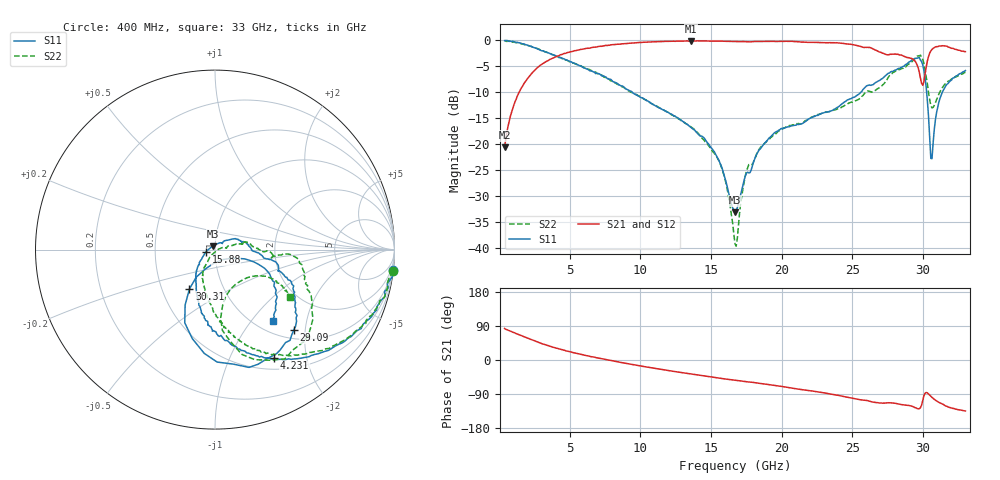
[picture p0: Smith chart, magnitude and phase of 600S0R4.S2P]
!  American Technical Ceramics  Date:  4/26/2005
!  One Norden Lane
!  Huntington Station,  NY.  11746-2102
!  Tel:  (631) 622-4700  Fax:  (631) 622-4748
!  Part Number  600S0R4  Mounting Orientation: Horizontal
!  Description: Ultra Low ESR Microwave capacitors
!  Application: Coupling, Bypass, Tuning, DC Block
!  Filters, Matching
# GHZ S DB R 50
! Freq  |S11|  S11 Ph  |S21|  S21 Ph  |S12|  S12 Ph  |S22|  S22 Ph
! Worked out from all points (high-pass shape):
!   401 points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, 400 MHz to 33 GHz, reference 50 ohm
!   highest |S21| = -0.08 dB at 13.6 GHz (marker M1); lowest = -20.6 dB at 400 MHz (marker M2)
!   |S21| within 3 dB of the highest: 4.084 GHz to 28.68 GHz (24.6 GHz wide, 150 % of centre); 30.39 GHz to end of sweep
!   lowest |S11| = -33.1 dB at 16.7 GHz (marker M3), VSWR 1.05, Z = 48.9 + j1.9 ohm
!   |S11| at or under -10 dB: 9.443 GHz to 25.6 GHz (16.15 GHz wide, 92.2 % of centre); 30.26 GHz to 31.36 GHz (1.103 GHz wide, 3.58 % of centre)
!   |S22| runs from -39.6 to 0.0 dB; largest |S21 - S12| = 0.014
!   S11 on the Smith chart (normalised r, x): 400 MHz: 0, -18; 4.231 GHz: 0.64, -1.49; 15.88 GHz: 0.90, -0.03; 29.09 GHz: 1.18, -1.74; 30.31 GHz: 0.69, -0.32; 33 GHz: 1.19, -1.29
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0.4  -0.02 -6.5  -20.61 83.0  -20.57 82.9  -0.01 -6.8
1.704  -0.69 -26.8  -8.65 62.5  -8.62 61.5  -0.69 -27.5
4.231  -3.22 -61.3  -2.97 29.5  -2.98 29.8  -3.28 -58.5
5.861  -5.05 -77.4  -1.71 14.5  -1.68 14.6  -5.01 -71.8
11.321  -12.96 -118.0  -0.22 -23.8  -0.20 -23.8  -12.91 -104.5
13.603  -16.77 -133.1  -0.08 -37.1  -0.11 -37.0  -16.67 -117.6
15.885  -25.51 -164.7  -0.15 -49.4  -0.15 -49.4  -25.67 -124.5
16.7  -33.06 119.2  -0.20 -53.4  -0.19 -53.4  -39.18 -70.2
16.863  -32.23 95.9  -0.20 -54.1  -0.21 -54.1  -38.16 -14.2
17.515  -25.54 45.1  -0.25 -57.5  -0.24 -57.4  -25.13 13.1
18.412  -21.08 36.5  -0.22 -61.6  -0.21 -61.6  -20.94 14.2
22.161  -14.85 10.0  -0.37 -81.8  -0.34 -81.8  -14.71 12.8
26.399  -8.55 -18.4  -1.53 -110.7  -1.54 -110.8  -9.97 -8.1
27.621  -6.28 -26.5  -2.72 -112.9  -2.74 -112.5  -6.80 -5.8
29.088  -4.06 -45.6  -3.41 -120.7  -3.37 -120.7  -4.28 -28.0
29.822  -3.79 -80.9  -7.30 -125.8  -7.14 -125.2  -2.82 -57.4
30.066  -5.81 -104.2  -7.90 -94.3  -7.77 -94.6  -4.39 -75.6
30.311  -11.64 -123.0  -3.95 -86.7  -3.94 -87.1  -8.37 -85.2
30.474  -18.58 -115.8  -2.43 -92.5  -2.44 -92.4  -11.40 -77.4
30.637  -22.77 -49.2  -1.73 -98.7  -1.75 -98.6  -12.99 -58.3
31.37  -9.93 -22.7  -1.01 -116.5  -1.02 -116.2  -9.08 -26.9
33  -5.80 -51.1  -2.16 -134.5  -2.18 -134.4  -6.16 -32.2
